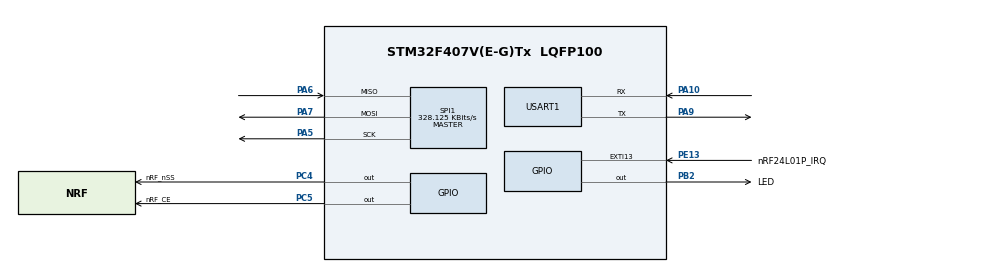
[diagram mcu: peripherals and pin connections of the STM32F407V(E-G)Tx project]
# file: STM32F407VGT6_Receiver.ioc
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Mcu.Family=STM32F4
Mcu.Name=STM32F407V(E-G)Tx
Mcu.Package=LQFP100
NVIC.EXTI15_10_IRQn=true\:15\:0\:true\:false\:true\:true\:true\:true
NVIC.PriorityGroup=NVIC_PRIORITYGROUP_4
PA10.GPIO_PuPd=GPIO_PULLDOWN
PA10.Mode=Asynchronous
PA10.Signal=USART1_RX
PA13.Mode=Serial_Wire
PA13.Signal=SYS_JTMS-SWDIO
PA14.Mode=Serial_Wire
PA14.Signal=SYS_JTCK-SWCLK
PA5.Mode=Full_Duplex_Master
PA5.Signal=SPI1_SCK
PA6.Mode=Full_Duplex_Master
PA6.Signal=SPI1_MISO
PA7.Mode=Full_Duplex_Master
PA7.Signal=SPI1_MOSI
PA9.Mode=Asynchronous
PA9.Signal=USART1_TX
PB2.GPIO_Label=LED
PB2.Signal=GPIO_Output
PC14-OSC32_IN.Mode=LSE-External-Oscillator
PC14-OSC32_IN.Signal=RCC_OSC32_IN
PC15-OSC32_OUT.Mode=LSE-External-Oscillator
PC15-OSC32_OUT.Signal=RCC_OSC32_OUT
PC4.GPIO_Label=nRF_nSS
PC4.GPIO_PuPd=GPIO_PULLUP
PC4.Signal=GPIO_Output
PC5.GPIO_Label=nRF_CE
PC5.GPIO_PuPd=GPIO_PULLUP
PC5.Signal=GPIO_Output
PE13.GPIO_Label=nRF24L01P_IRQ
PE13.GPIO_PuPd=GPIO_PULLDOWN
PE13.Signal=GPXTI13
PH0-OSC_IN.Mode=HSE-External-Oscillator
PH0-OSC_IN.Signal=RCC_OSC_IN
PH1-OSC_OUT.Mode=HSE-External-Oscillator
PH1-OSC_OUT.Signal=RCC_OSC_OUT
ProjectManager.HeapSize=0x200
ProjectManager.StackSize=0x400
ProjectManager.TargetToolchain=MDK-ARM V5.32
RCC.48MHZClocksFreq_Value=84000000
RCC.AHBFreq_Value=168000000
RCC.APB1CLKDivider=RCC_HCLK_DIV4
RCC.APB1Freq_Value=42000000
RCC.APB1TimFreq_Value=84000000
RCC.APB2CLKDivider=RCC_HCLK_DIV2
RCC.APB2Freq_Value=84000000
RCC.APB2TimFreq_Value=168000000
RCC.CortexFreq_Value=168000000
RCC.HCLKFreq_Value=168000000
RCC.HSE_VALUE=25000000
RCC.HSI_VALUE=16000000
RCC.PLLM=8
RCC.PLLN=168
RCC.SYSCLKFreq_VALUE=168000000
RCC.SYSCLKSource=RCC_SYSCLKSOURCE_PLLCLK
RCC.VCOOutputFreq_Value=336000000
SPI1.BaudRatePrescaler=SPI_BAUDRATEPRESCALER_256
SPI1.CalculateBaudRate=328.125 KBits/s
SPI1.Direction=SPI_DIRECTION_2LINES
SPI1.Mode=SPI_MODE_MASTER
SPI1.VirtualType=VM_MASTER
USART1.VirtualMode=VM_ASYNC
board=custom

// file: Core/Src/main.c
/* USER CODE BEGIN Header */
/**
 ******************************************************************************
 * @file           : main.c
 * @brief          : Main program body
 ******************************************************************************
 * @attention
 *
 * Copyright (c) 2024 STMicroelectronics.
 * All rights reserved.
 *
 * This software is licensed under terms that can be found in the LICENSE file
 * in the root directory of this software component.
 * If no LICENSE file comes with this software, it is provided AS-IS.
 *
 ******************************************************************************
 */
/* USER CODE END Header */
#include "main.h"
#include "spi.h"
#include "usart.h"
#include "gpio.h"

/* USER CODE BEGIN Includes */

#include "nRF24L01P.h"

/* USER CODE END Includes */

/* USER CODE BEGIN PV */

nRF24L01P     myNRF;
const uint8_t RXAddr[ 5 ] = { 0xE7, 0xE7, 0xE7, 0xE7, 0xE7 };
const uint8_t TXAddr[ 5 ] = { 0xE7, 0xE7, 0xE7, 0xE7, 0xE7 };

uint8_t RXBuffer[ 32 ], TXBuffer[ 32 ], regStatus, uartSent;

/* USER CODE END PV */

void SystemClock_Config( void );

int main( void ) {

    /* MCU Configuration--------------------------------------------------------*/

    /* Reset of all peripherals, Initializes the Flash interface and the Systick. */
    HAL_Init();

    /* Configure the system clock */
    SystemClock_Config();

    /* Initialize all configured peripherals */
    MX_GPIO_Init();
    MX_SPI1_Init();
    MX_USART1_UART_Init();
    /* USER CODE BEGIN 2 */

    /* ---- myNRF24L01+ Definitions ������� ---- */
    myNRF.hspi       = &hspi1;  // You should make this definition at CubeMX
    myNRF.CRC_Width  = nRF_CRC_WIDTH_BYTE;
    myNRF.ADDR_Width = nRF_ADDR_WIDTH_5;
    myNRF.Data_Rate  = nRF_DATA_RATE_2MBPS;
    myNRF.TX_Power   = nRF_TX_PWR_0dBm;
    myNRF.State      = nRF_STATE_RX;

    myNRF.RF_Channel      = 2;
    myNRF.PayloadWidth    = nRF_RXPW_32BYTES;
    myNRF.RetransmitCount = nRF_RETX_DISABLED;
    myNRF.RetransmitDelay = nRF_RETX_DELAY_1000uS;

    myNRF.RX_Address = ( uint8_t* )RXAddr;
    myNRF.TX_Address = ( uint8_t* )TXAddr;

    myNRF.RX_Buffer = RXBuffer;
    myNRF.TX_Buffer = TXBuffer;

    myNRF.nRF_nSS_GPIO_PORT = nRF_nSS_GPIO_Port;  // You should make this definition at CubeMX
    myNRF.nRF_nSS_GPIO_PIN  = nRF_nSS_Pin;        // You should make this definition at CubeMX

    myNRF.nRF_CE_GPIO_PORT = nRF_CE_GPIO_Port;  // You should make this definition at CubeMX
    myNRF.nRF_CE_GPIO_PIN  = nRF_CE_Pin;        // You should make this definition at CubeMX

    /* ---- myNRF24L01+ Definitions ---- */

    if ( HAL_nRF24L01P_Init( &myNRF ) != HAL_OK ) {
        HAL_GPIO_WritePin( LED_GPIO_Port, LED_Pin, GPIO_PIN_SET );
        HAL_UART_Transmit( &huart1, ( uint8_t* )"nRF24 Init fucked UP!\r\n", 23, 250 );
        Error_Handler();
    }
    else {
        HAL_GPIO_WritePin( LED_GPIO_Port, LED_Pin, GPIO_PIN_RESET );
        HAL_UART_Transmit( &huart1, ( uint8_t* )"nRF24 Init is OK!\r\n", 19, 250 );
    }
    uartSent = 1;
    /* USER CODE END 2 */

    /* Infinite loop */
    while ( 1 ) {

        /* USER CODE BEGIN 3 */
        if ( ( myNRF.RX_Buffer[ 0 ] != 0x00 ) && !myNRF.Busy && uartSent ) {
            HAL_UART_Transmit( &huart1, myNRF.RX_Buffer, 32, 250 );
            uartSent = 0;
        }
    }
    /* USER CODE END 3 */
}

void SystemClock_Config( void ) {
    RCC_OscInitTypeDef RCC_OscInitStruct = { 0 };
    RCC_ClkInitTypeDef RCC_ClkInitStruct = { 0 };

    /** Configure the main internal regulator output voltage
     */
    __HAL_RCC_PWR_CLK_ENABLE();
    __HAL_PWR_VOLTAGESCALING_CONFIG( PWR_REGULATOR_VOLTAGE_SCALE1 );

    /** Initializes the RCC Oscillators according to the specified parameters
     * in the RCC_OscInitTypeDef structure.
     */
    RCC_OscInitStruct.OscillatorType      = RCC_OSCILLATORTYPE_HSI;
    RCC_OscInitStruct.HSIState            = RCC_HSI_ON;
    RCC_OscInitStruct.HSICalibrationValue = RCC_HSICALIBRATION_DEFAULT;
    RCC_OscInitStruct.PLL.PLLState        = RCC_PLL_ON;
    RCC_OscInitStruct.PLL.PLLSource       = RCC_PLLSOURCE_HSI;
    RCC_OscInitStruct.PLL.PLLM            = 8;
    RCC_OscInitStruct.PLL.PLLN            = 168;
    RCC_OscInitStruct.PLL.PLLP            = RCC_PLLP_DIV2;
    RCC_OscInitStruct.PLL.PLLQ            = 4;
    if ( HAL_RCC_OscConfig( &RCC_OscInitStruct ) != HAL_OK ) {
        Error_Handler();
    }

    /** Initializes the CPU, AHB and APB buses clocks
     */
    RCC_ClkInitStruct.ClockType      = RCC_CLOCKTYPE_HCLK | RCC_CLOCKTYPE_SYSCLK | RCC_CLOCKTYPE_PCLK1 | RCC_CLOCKTYPE_PCLK2;
    RCC_ClkInitStruct.SYSCLKSource   = RCC_SYSCLKSOURCE_PLLCLK;
    RCC_ClkInitStruct.AHBCLKDivider  = RCC_SYSCLK_DIV1;
    RCC_ClkInitStruct.APB1CLKDivider = RCC_HCLK_DIV4;
    RCC_ClkInitStruct.APB2CLKDivider = RCC_HCLK_DIV2;

    if ( HAL_RCC_ClockConfig( &RCC_ClkInitStruct, FLASH_LATENCY_5 ) != HAL_OK ) {
        Error_Handler();
    }
}

/* USER CODE BEGIN 4 */

void HAL_GPIO_EXTI_Callback( uint16_t GPIO_Pin ) {
    if ( GPIO_Pin == GPIO_PIN_13 ) {
        if ( HAL_nRF24L01P_IRQ_Handler( &myNRF ) != HAL_OK ) {
            Error_Handler();
        }
        HAL_nRF24L01P_ReadRegister( &myNRF, nRF_STATUS, &regStatus );
        HAL_UART_Transmit( &huart1, ( uint8_t* )"Status >", 8, 250 );
        HAL_UART_Transmit( &huart1, &regStatus, 1, 250 );
        uartSent = 1;
    }
}

/* USER CODE END 4 */

void Error_Handler( void ) {
    __disable_irq();
    while ( 1 ) {
    }
}
